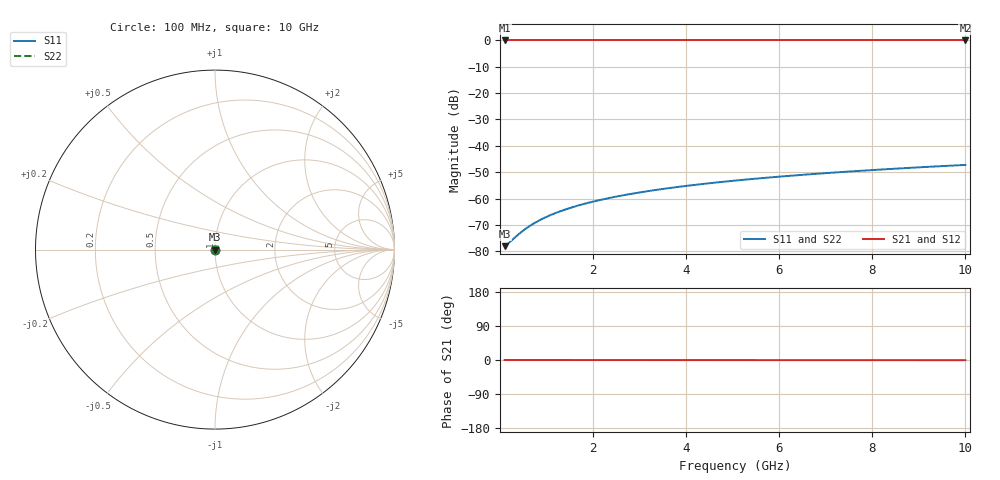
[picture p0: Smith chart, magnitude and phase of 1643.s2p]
# Hz S RI R 50.00
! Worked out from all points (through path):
!   100 points, 100 MHz to 10 GHz, reference 50 ohm
!   highest |S21| = 0.00 dB at 100 MHz (marker M1); lowest = 0.0 dB at 10 GHz (marker M2)
!   lowest |S11| = -78.1 dB at 100 MHz (marker M3), VSWR 1.00, Z = 50 + j0.00432 ohm
!   |S11| at or under -10 dB: start of sweep to end of sweep
!   |S22| runs from -78.1 to -47.3 dB; largest |S21 - S12| = 1e-14
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1e8  0.000117 4.32e-05  0.9999 -8.1e-05  0.9999 -8.1e-05  0.000117 4.32e-05
2e8  0.000118 8.64e-05  0.9999 -0.000162  0.9999 -0.000162  0.000118 8.64e-05
4e8  0.000119 0.000173  0.9999 -0.000324  0.9999 -0.000324  0.000119 0.000173
5e8  0.000119 0.000216  0.9999 -0.000405  0.9999 -0.000405  0.000119 0.000216
6e8  0.000119 0.000259  0.9999 -0.000486  0.9999 -0.000486  0.000119 0.000259
7e8  0.00012 0.000302  0.9999 -0.000567  0.9999 -0.000567  0.00012 0.000302
8e8  0.00012 0.000345  0.9999 -0.000648  0.9999 -0.000648  0.00012 0.000345
1e9  0.000121 0.000432  0.9999 -0.00081  0.9999 -0.00081  0.000121 0.000432
1.2e9  0.000121 0.000518  0.9999 -0.000972  0.9999 -0.000972  0.000121 0.000518
1.5e9  0.000122 0.000648  0.9999 -0.00121  0.9999 -0.00121  0.000122 0.000648
1.8e9  0.000123 0.000777  0.9999 -0.00146  0.9999 -0.00146  0.000123 0.000777
2.1e9  0.000124 0.000907  0.9999 -0.0017  0.9999 -0.0017  0.000124 0.000907
2.5e9  0.000125 0.00108  0.9999 -0.00203  0.9999 -0.00203  0.000125 0.00108
2.9e9  0.000126 0.00125  0.9999 -0.00235  0.9999 -0.00235  0.000126 0.00125
3.4e9  0.000128 0.00147  0.9999 -0.00276  0.9999 -0.00276  0.000128 0.00147
4.2e9  0.000131 0.00181  0.9999 -0.0034  0.9999 -0.0034  0.000131 0.00181
5.1e9  0.000135 0.0022  0.9999 -0.00414  0.9999 -0.00414  0.000135 0.0022
5.9e9  0.000139 0.00255  0.9999 -0.00479  0.9999 -0.00479  0.000139 0.00255
6.7e9  0.000143 0.0029  0.9999 -0.00544  0.9999 -0.00544  0.000143 0.0029
7.5e9  0.000148 0.00325  0.9998 -0.00609  0.9998 -0.00609  0.000148 0.00325
8.4e9  0.000154 0.00364  0.9998 -0.00683  0.9998 -0.00683  0.000154 0.00364
1e10  0.000166 0.00434  0.9998 -0.00814  0.9998 -0.00814  0.000166 0.00434
